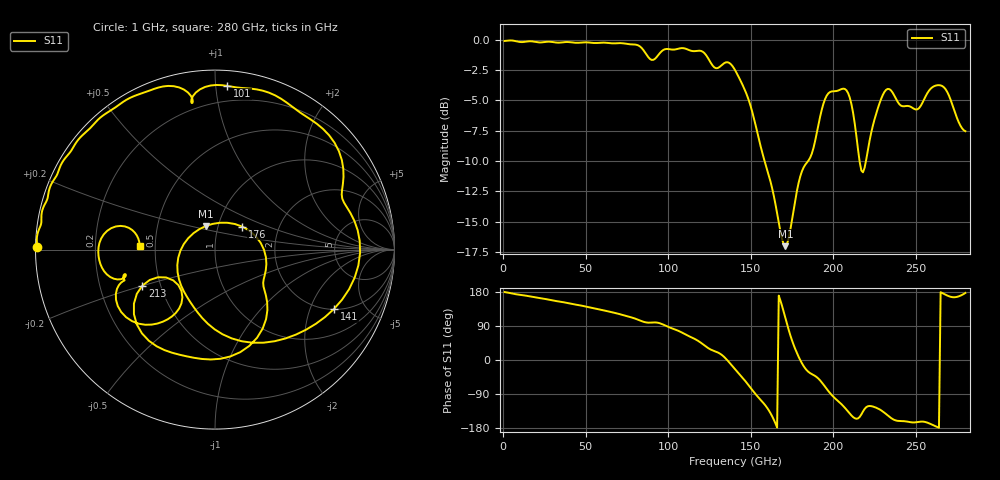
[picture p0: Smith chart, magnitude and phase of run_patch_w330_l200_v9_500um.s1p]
#  Hz  S  RI  R  50
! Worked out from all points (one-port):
!   280 points, 1 GHz to 280 GHz, reference 50 ohm
!   lowest |S11| = -17.0 dB at 171 GHz (marker M1), VSWR 1.33, Z = 43.7 + j11.7 ohm
!   |S11| at or under -10 dB: 158.4 GHz to 184.7 GHz (26.3 GHz wide, 15.3 % of centre); 215.9 GHz to 219.8 GHz (3.853 GHz wide, 1.77 % of centre)
!   S11 on the Smith chart (normalised r, x): 1 GHz: 0.01, +0.01; 101 GHz: 0.10, +1.07; 141 GHz: 2.02, -2.96; 176 GHz: 1.31, +0.35; 213 GHz: 0.40, -0.20; 280 GHz: 0.41, +0.02
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1e9  -0.9897 0.0117
3.6e10  -0.8699 0.4438
7.1e10  -0.494 0.8343
1.01e11  0.0674 0.9122
1.06e11  0.2003 0.8967
1.18e11  0.5679 0.7005
1.23e11  0.7067 0.4989
1.36e11  0.8083 -0.0184
1.41e11  0.6625 -0.331
1.48e11  0.2705 -0.5187
1.56e11  -0.0956 -0.3515
1.64e11  -0.2101 -0.0867
1.71e11  -0.0509 0.1314
1.76e11  0.1528 0.1278
1.91e11  0.292 -0.337
1.98e11  0.0295 -0.6085
2.06e11  -0.3256 -0.5384
2.11e11  -0.4517 -0.301
2.13e11  -0.4046 -0.2006
2.17e11  -0.233 -0.1712
2.2e11  -0.1817 -0.2659
2.29e11  -0.3887 -0.4187
2.35e11  -0.5516 -0.2793
2.46e11  -0.5108 -0.1508
2.56e11  -0.5636 -0.1622
2.65e11  -0.6489 0.0123
2.72e11  -0.5267 0.1321
2.8e11  -0.4195 0.0217
